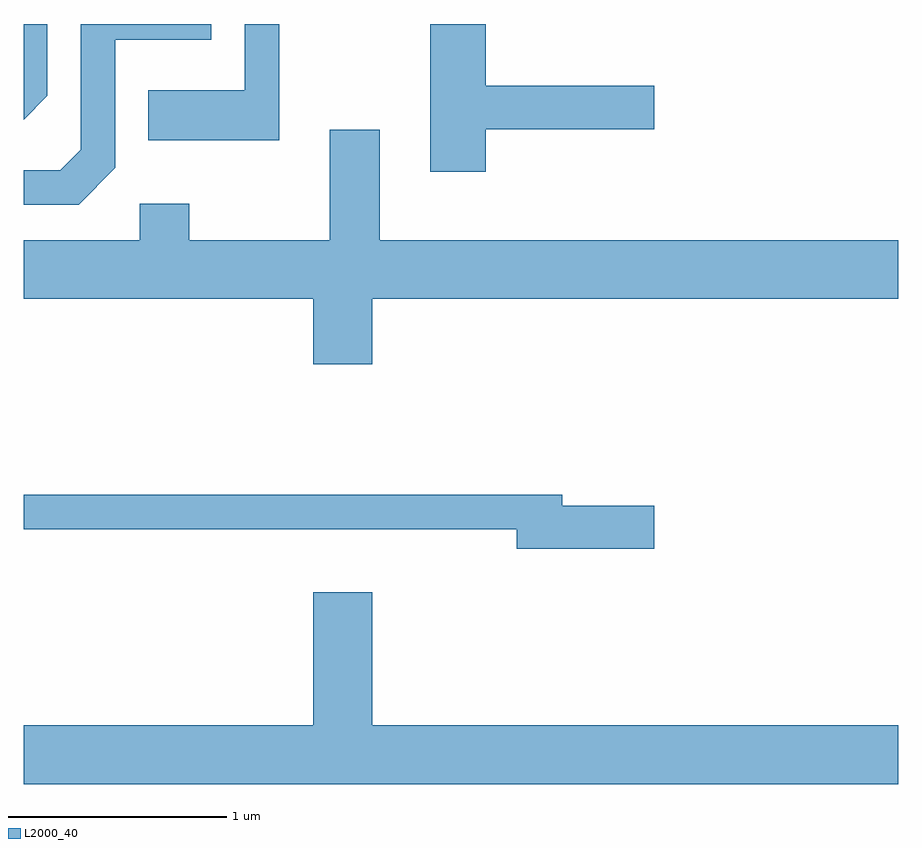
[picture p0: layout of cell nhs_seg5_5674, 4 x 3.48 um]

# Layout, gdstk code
import gdstk
lib = gdstk.Library(unit=1e-6, precision=1e-09)
def P(c, l, *ps):  # polygons
    for p in ps: c.add(gdstk.Polygon(p, *l))
L2000_40 = (2000, 40)

nhs_seg5_5674 = lib.new_cell('nhs_seg5_5674')
P(nhs_seg5_5674, L2000_40, [(353.719,1437.744),(353.719,1438.072),(353.611,1438.072),(353.611,1437.635)],
  [(354.779,1438.072),(354.621,1438.072),(354.621,1437.769),(354.181,1437.769),(354.181,1437.541),(354.779,1437.541)],
  [(354.029,1437.414),(354.029,1438.001),(354.469,1438.001),(354.469,1438.072),(353.871,1438.072),(353.871,1437.497),(353.779,1437.404),(353.611,1437.404),(353.611,1437.246),(353.862,1437.246)],
  [(355.724,1437.591),(356.494,1437.591),(356.494,1437.789),(355.724,1437.789),(355.724,1438.072),(355.471,1438.072),(355.471,1437.396),(355.724,1437.396)],
  [(355.204,1436.816),(357.611,1436.816),(357.611,1437.084),(355.239,1437.084),(355.239,1437.589),(355.011,1437.589),(355.011,1437.084),(354.369,1437.084),(354.369,1437.249),(354.141,1437.249),(354.141,1437.084),(353.611,1437.084),(353.611,1436.816),(354.936,1436.816),(354.936,1436.516),(355.204,1436.516)],
  [(356.494,1435.869),(356.074,1435.869),(356.074,1435.919),(353.611,1435.919),(353.611,1435.761),(355.866,1435.761),(355.866,1435.671),(356.494,1435.671)],
  [(357.611,1434.864),(355.204,1434.864),(355.204,1435.474),(354.936,1435.474),(354.936,1434.864),(353.611,1434.864),(353.611,1434.596),(357.611,1434.596)])

lib.write_gds('nhs_seg5_5674.gds')
